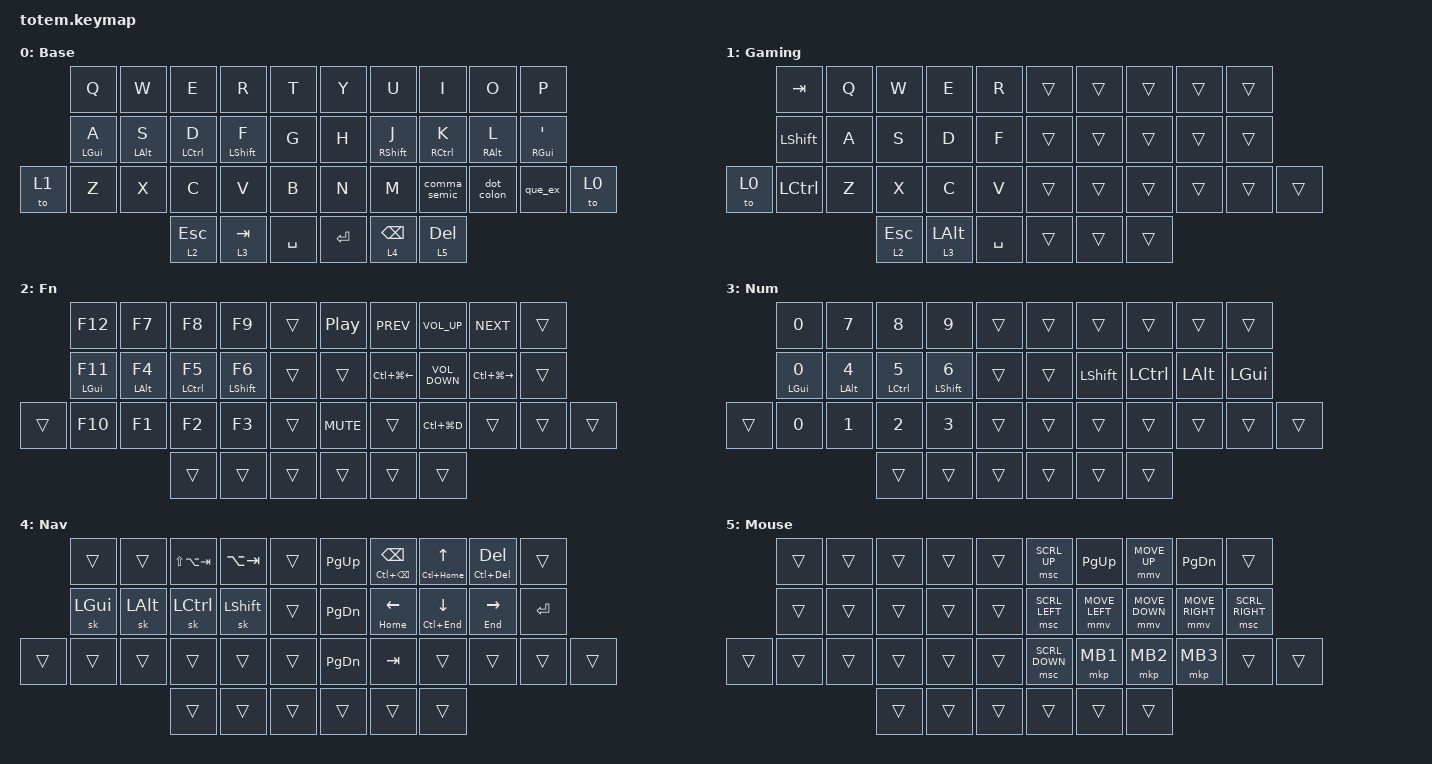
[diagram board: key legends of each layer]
//
//                                                        ▀▀▀▀▀     ▀▀▀▀▀          ▀▀█▀▀
//                                                        ▄▀▀▀▄  ▄  ▄▀▀▀▄  ▄  ▄▀▀▀▄  █  ▄▀▀▀▄
//                                                        █   █  █  █   █  █  █   █  █  █   █
//                                                         ▀▀▀   █   ▀▀▀   █   ▀▀▀   ▀   ▀▀▀
//                                                               █      ▄▄▄█▄▄▄    █   █  
//                                                               ▀      █  █  █     █▄█
//                                                             ▀▀▀▀▀    █  █  █      ▀
//                                                                      ▀  ▀  ▀
//
// ▄▄▄▄▄▄▄▄▄▄▄▄▄▄▄▄▄▄▄▄▄▄▄▄▄▄▄▄▄▄▄▄▄▄▄▄▄▄▄▄▄▄▄▄▄▄▄▄▄▄▄▄▄▄▄▄▄▄▄▄▄▄▄▄▄▄▄▄▄▄▄▄▄▄▄▄▄▄▄▄▄▄▄▄▄▄▄▄▄▄▄▄▄▄▄▄▄▄▄▄▄▄▄▄▄▄▄▄▄▄▄▄▄▄▄▄▄▄▄▄▄▄▄▄▄▄▄▄▄▄▄▄▄▄▄▄▄▄▄▄▄▄▄▄▄▄▄▄▄

#include "./keys.h"
#include <behaviors.dtsi>
#include <dt-bindings/zmk/keys.h>
#include <dt-bindings/zmk/pointing.h>

#define Base        0
#define ZMK_POINTING_DEFAULT_MOVE_VAL 3000  // default: 600
#define ZMK_POINTING_DEFAULT_SCRL_VAL 20    // default: 10
#define KEYS_L LT0 LT1 LT2 LT3 LT4 LM0 LM1 LM2 LM3 LM4 LB0 LB1 LB2 LB3 LB4  // left hand
#define KEYS_R RT0 RT1 RT2 RT3 RT4 RM0 RM1 RM2 RM3 RM4 RB0 RB1 RB2 RB3 RB4  // right hand
#define THUMBS LH2 LH1 LH0 RH0 RH1 RH2                                      // thumbs
#define COMBO_TERM_FAST 18
#define COMBO_TERM_SLOW 30
#define COMBO_IDLE_FAST 150
#define COMBO_IDLE_SLOW 50

&sk {
    release-after-ms = <900>;
    quick-release;
};

&sl { ignore-modifiers; };

&mt {
    quick-tap-ms = <175>;
    flavor = "tap-preferred";
};

&lt {
    flavor = "balanced";
    quick-tap-ms = <175>;
};

&mmv {
    acceleration-exponent = <1>;          // 1
    time-to-max-speed-ms = <500>;         // 300
    delay-ms = <0>;                       // 0
};

&msc {
    acceleration-exponent = <0>;          // 0
    time-to-max-speed-ms = <300>;         // 300
    delay-ms = <0>;                       // 0
};

/ {
    behaviors {
        hml: home_row_mod_left {
            compatible = "zmk,behavior-hold-tap";
            #binding-cells = <2>;
            flavor = "balanced";
            require-prior-idle-ms = <150>;
            tapping-term-ms = <280>;
            quick-tap-ms = <175>;
            bindings = <&kp>, <&kp>;

            hold-trigger-key-positions = <KEYS_R THUMBS>;
            hold-trigger-on-release;
        };

        hmr: home_row_mod_right {
            compatible = "zmk,behavior-hold-tap";
            #binding-cells = <2>;
            flavor = "balanced";
            require-prior-idle-ms = <150>;
            tapping-term-ms = <280>;
            quick-tap-ms = <175>;
            bindings = <&kp>, <&kp>;

            hold-trigger-key-positions = <KEYS_L THUMBS>;
            hold-trigger-on-release;
        };

        lpar_lt: lpar_lt {
            compatible = "zmk,behavior-mod-morph";
            label = "LPAR_LT";
            bindings = <&kp LEFT_PARENTHESIS>, <&kp LT>;

            #binding-cells = <0>;
            mods = <(MOD_LSFT)>;
        };

        rpar_gt: rpar_gt {
            compatible = "zmk,behavior-mod-morph";
            label = "RPAR_GT";
            bindings = <&kp RPAR>, <&kp GT>;

            #binding-cells = <0>;
            mods = <(MOD_LSFT)>;
        };

        comma_semic: comma_semic {
            compatible = "zmk,behavior-mod-morph";
            label = "COMMA_SEMIC";
            bindings = <&kp COMMA>, <&kp SEMI>;

            #binding-cells = <0>;
            mods = <(MOD_LSFT)>;
        };

        dot_colon: dot_colon {
            compatible = "zmk,behavior-mod-morph";
            label = "DOT_COLON";
            bindings = <&kp DOT>, <&kp COLON>;

            #binding-cells = <0>;
            mods = <(MOD_LSFT)>;
        };

        que_ex: que_ex {
            compatible = "zmk,behavior-mod-morph";
            label = "QUE_EX";
            bindings = <&kp QUESTION>, <&kp EXCLAMATION>;

            #binding-cells = <0>;
            mods = <(MOD_LSFT)>;
        };
    };

    combos {
        compatible = "zmk,combos";

        At {
            bindings = <&kp AT>;
            key-positions = <1 11>;
            layers = <0>;
            timeout-ms = <COMBO_TERM_SLOW>;
            require-prior-idle-ms = <COMBO_IDLE_SLOW>;
        };

        Hash {
            bindings = <&kp HASH>;
            key-positions = <2 12>;
            layers = <0>;
            timeout-ms = <COMBO_TERM_SLOW>;
            require-prior-idle-ms = <COMBO_IDLE_SLOW>;
        };

        Dollar {
            bindings = <&kp DOLLAR>;
            key-positions = <3 13>;
            layers = <0>;
            timeout-ms = <COMBO_TERM_SLOW>;
            require-prior-idle-ms = <COMBO_IDLE_SLOW>;
        };

        Percent {
            bindings = <&kp PERCENT>;
            key-positions = <4 14>;
            layers = <0>;
            timeout-ms = <COMBO_TERM_SLOW>;
            require-prior-idle-ms = <COMBO_IDLE_SLOW>;
        };

        Grave {
            bindings = <&kp GRAVE>;
            key-positions = <11 22>;
            layers = <0>;
            timeout-ms = <COMBO_TERM_SLOW>;
            require-prior-idle-ms = <COMBO_IDLE_SLOW>;
        };

        Backslash {
            bindings = <&kp BACKSLASH>;
            key-positions = <23 12>;
            layers = <0>;
            timeout-ms = <COMBO_TERM_SLOW>;
            require-prior-idle-ms = <COMBO_IDLE_SLOW>;
        };

        Eq {
            bindings = <&kp EQUAL>;
            key-positions = <24 13>;
            layers = <0>;
            timeout-ms = <COMBO_TERM_SLOW>;
            require-prior-idle-ms = <COMBO_IDLE_SLOW>;
        };

        Tilde {
            bindings = <&kp TILDE>;
            key-positions = <25 14>;
            layers = <0>;
            timeout-ms = <COMBO_TERM_SLOW>;
            require-prior-idle-ms = <COMBO_IDLE_SLOW>;
        };

        Caret {
            bindings = <&kp CARET>;
            key-positions = <15 5>;
            layers = <0>;
            timeout-ms = <COMBO_TERM_SLOW>;
            require-prior-idle-ms = <COMBO_IDLE_SLOW>;
        };

        Plus {
            bindings = <&kp PLUS>;
            key-positions = <6 16>;
            layers = <0>;
            timeout-ms = <COMBO_TERM_SLOW>;
            require-prior-idle-ms = <COMBO_IDLE_SLOW>;
        };

        Asterisk {
            bindings = <&kp ASTRK>;
            key-positions = <17 7>;
            layers = <0>;
            timeout-ms = <COMBO_TERM_SLOW>;
            require-prior-idle-ms = <COMBO_IDLE_SLOW>;
        };

        Amps {
            bindings = <&kp AMPERSAND>;
            key-positions = <8 18>;
            layers = <0>;
            timeout-ms = <COMBO_TERM_SLOW>;
            require-prior-idle-ms = <COMBO_IDLE_SLOW>;
        };

        Under {
            bindings = <&kp UNDER>;
            key-positions = <26 15>;
            layers = <0>;
            timeout-ms = <COMBO_TERM_SLOW>;
            require-prior-idle-ms = <COMBO_IDLE_SLOW>;
        };

        Minus {
            bindings = <&kp MINUS>;
            key-positions = <16 27>;
            layers = <0>;
            timeout-ms = <COMBO_TERM_SLOW>;
            require-prior-idle-ms = <COMBO_IDLE_SLOW>;
        };

        Slash {
            bindings = <&kp SLASH>;
            key-positions = <17 28>;
            layers = <0>;
            timeout-ms = <COMBO_TERM_SLOW>;
            require-prior-idle-ms = <COMBO_IDLE_SLOW>;
        };

        Pipe {
            bindings = <&kp PIPE>;
            key-positions = <18 29>;
            layers = <0>;
            timeout-ms = <COMBO_TERM_SLOW>;
            require-prior-idle-ms = <COMBO_IDLE_SLOW>;
        };

        Esc {
            bindings = <&kp ESC>;
            key-positions = <1 2>;
            layers = <0>;
            timeout-ms = <COMBO_TERM_FAST>;
            require-prior-idle-ms = <COMBO_IDLE_FAST>;
        };

        Mouse {
            bindings = <&tog 5>;
            key-positions = <2 3>;
            layers = <0 5>;
            timeout-ms = <COMBO_TERM_FAST>;
            require-prior-idle-ms = <COMBO_IDLE_FAST>;
        };

        Copy {
            bindings = <&kp LC(C)>;
            key-positions = <22 23>;
            layers = <0>;
            timeout-ms = <COMBO_TERM_FAST>;
            require-prior-idle-ms = <COMBO_IDLE_FAST>;
        };

        Paste {
            bindings = <&kp LC(V)>;
            key-positions = <23 24>;
            layers = <0>;
            timeout-ms = <COMBO_TERM_FAST>;
            require-prior-idle-ms = <COMBO_IDLE_FAST>;
        };

        Cut {
            bindings = <&kp LC(X)>;
            key-positions = <24 22>;
            layers = <0>;
            timeout-ms = <COMBO_TERM_FAST>;
            require-prior-idle-ms = <COMBO_IDLE_FAST>;
        };

        Backspace {
            bindings = <&kp BACKSPACE>;
            key-positions = <6 7>;
            layers = <0>;
            timeout-ms = <COMBO_TERM_FAST>;
            require-prior-idle-ms = <COMBO_IDLE_FAST>;
        };

        Delete {
            bindings = <&kp DEL>;
            key-positions = <8 7>;
            layers = <0>;
            timeout-ms = <COMBO_TERM_FAST>;
            require-prior-idle-ms = <COMBO_IDLE_FAST>;
        };

        LPar {
            bindings = <&lpar_lt>;
            key-positions = <16 17>;
            layers = <0>;
            timeout-ms = <COMBO_TERM_FAST>;
            require-prior-idle-ms = <COMBO_IDLE_FAST>;
        };

        RPar {
            bindings = <&rpar_gt>;
            key-positions = <17 18>;
            layers = <0>;
            timeout-ms = <COMBO_TERM_FAST>;
            require-prior-idle-ms = <COMBO_IDLE_FAST>;
        };

        LBrack {
            bindings = <&kp LBKT>;
            key-positions = <27 28>;
            layers = <0>;
            timeout-ms = <COMBO_TERM_FAST>;
            require-prior-idle-ms = <COMBO_IDLE_FAST>;
        };

        RBrack {
            bindings = <&kp RBKT>;
            key-positions = <29 28>;
            layers = <0>;
            timeout-ms = <COMBO_TERM_FAST>;
            require-prior-idle-ms = <COMBO_IDLE_FAST>;
        };
    };

    keymap {
        compatible = "zmk,keymap";

        Base {
            display-name = "Base";
            bindings = <
       &kp Q        &kp W        &kp E         &kp R          &kp T        &kp Y    &kp U            &kp I         &kp O        &kp P
       &hml LGUI A  &hml LALT S  &hml LCTRL D  &hml LSHIFT F  &kp G        &kp H    &hmr RSHFT J     &hmr RCTRL K  &hmr RALT L  &hmr RGUI SINGLE_QUOTE
&to 1  &kp Z        &kp X        &kp C         &kp V          &kp B        &kp N    &kp M            &comma_semic  &dot_colon   &que_ex                 &to 0
                                 &lt 2 ESC     &lt 3 TAB      &kp SPACE    &kp RET  &lt 4 BACKSPACE  &lt 5 DEL
            >;
        };

        Gaming {
            bindings = <
       &kp TAB    &kp Q  &kp W      &kp E           &kp R        &trans  &trans  &trans  &trans  &trans
       &kp LSHFT  &kp A  &kp S      &kp D           &kp F        &trans  &trans  &trans  &trans  &trans
&to 0  &kp LCTRL  &kp Z  &kp X      &kp C           &kp V        &trans  &trans  &trans  &trans  &trans  &trans
                         &lt 2 ESC  &lt 3 LEFT_ALT  &kp SPACE    &trans  &trans  &trans
            >;
        };

        Fn {
            bindings = <
        &kp F12        &kp F7        &kp F8         &kp F9          &trans    &kp C_PP    &kp C_PREV        &kp C_VOLUME_UP    &kp C_NEXT         &trans
        &hml LGUI F11  &hml LALT F4  &hml LCTRL F5  &hml LSHIFT F6  &trans    &trans      &kp LC(LG(LEFT))  &kp C_VOLUME_DOWN  &kp LC(LG(RIGHT))  &trans
&trans  &kp F10        &kp F1        &kp F2         &kp F3          &trans    &kp C_MUTE  &trans            &kp LC(LG(D))      &trans             &trans  &trans
                                     &trans         &trans          &trans    &trans      &trans            &trans
            >;
        };

        Num {
            bindings = <
        &kp N0        &kp N7        &kp N8         &kp N9          &trans    &trans  &trans      &trans     &trans    &trans
        &hml LGUI N0  &hml LALT N4  &hml LCTRL N5  &hml LSHIFT N6  &trans    &trans  &kp LSHIFT  &kp LCTRL  &kp LALT  &kp LGUI
&trans  &kp N0        &kp N1        &kp N2         &kp N3          &trans    &trans  &trans      &trans     &trans    &trans    &trans
                                    &trans         &trans          &trans    &trans  &trans      &trans
            >;
        };

        Nav {
            bindings = <
        &trans    &trans    &kp LS(LA(TAB))  &kp LA(TAB)  &trans    &kp PAGE_UP  &mt LC(BSPC) BSPC  &mt LC(HOME) UP   &mt LC(DEL) DEL  &trans
        &sk LGUI  &sk LALT  &sk LCTRL        &sk LSHIFT   &trans    &kp PG_DN    &mt HOME LEFT      &mt LC(END) DOWN  &mt END RIGHT    &kp ENTER
&trans  &trans    &trans    &trans           &trans       &trans    &kp PG_DN    &kp TAB            &trans            &trans           &trans     &trans
                            &trans           &trans       &trans    &trans       &trans             &trans
            >;
        };

        Mouse {
            bindings = <
        &trans  &trans  &trans  &trans  &trans    &msc SCRL_UP    &kp PG_UP       &mmv MOVE_UP    &kp PG_DN        &trans
        &trans  &trans  &trans  &trans  &trans    &msc SCRL_LEFT  &mmv MOVE_LEFT  &mmv MOVE_DOWN  &mmv MOVE_RIGHT  &msc SCRL_RIGHT
&trans  &trans  &trans  &trans  &trans  &trans    &msc SCRL_DOWN  &mkp MB1        &mkp MB2        &mkp MB3         &trans           &trans
                        &trans  &trans  &trans    &trans          &trans          &trans
            >;
        };
    };
};
